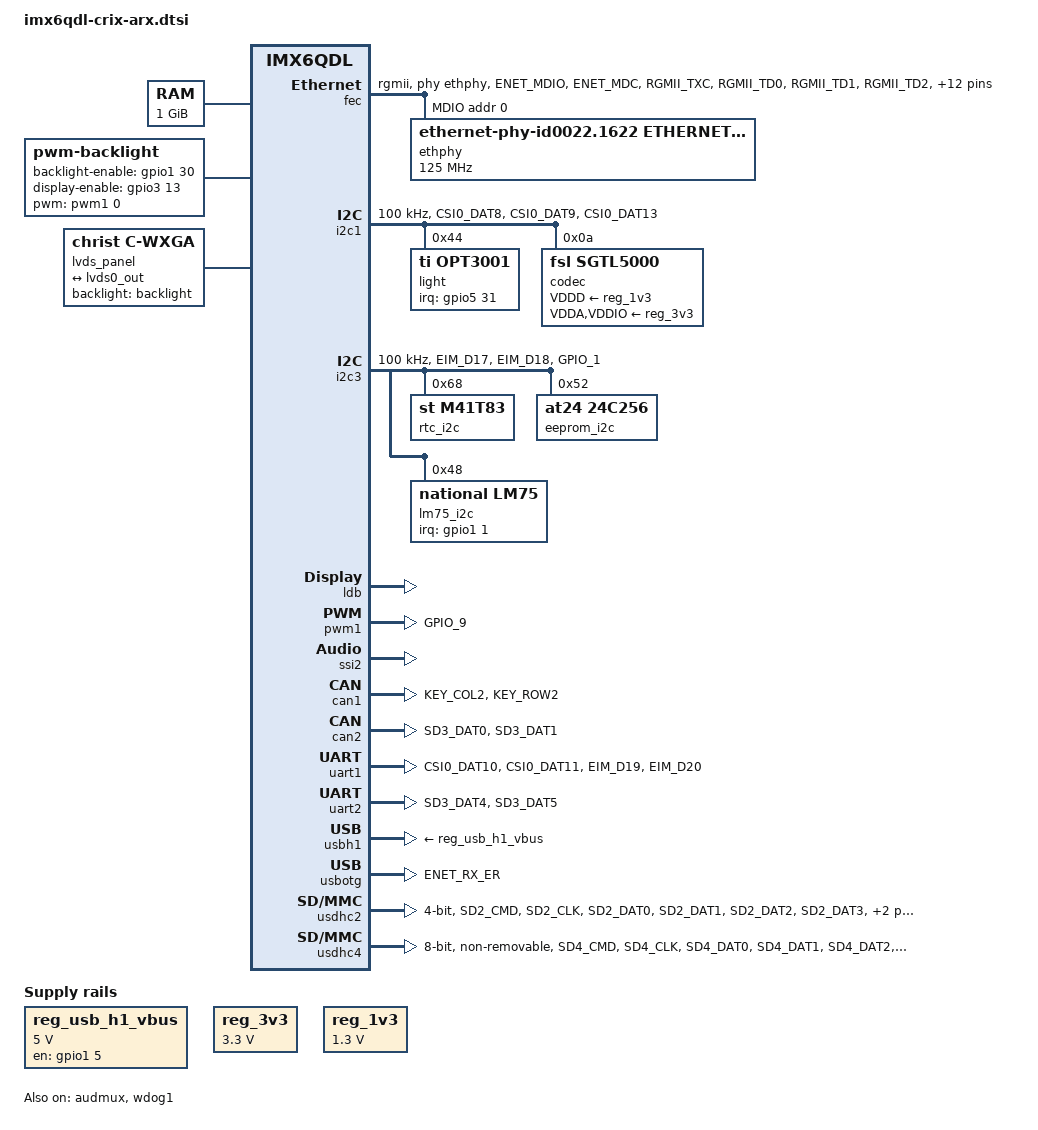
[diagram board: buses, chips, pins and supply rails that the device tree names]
// SPDX-License-Identifier: GPL-2.0+
/*
 * Copyright (C) 2019 Christ Electronic Systems GmbH
 * Peter Fink <pfink@christ-es.de>
 * Copyright 2012-2015 Freescale Semiconductor, Inc.
 * Copyright 2011 Linaro Ltd.
 *
 * The code contained herein is licensed under the GNU General Public
 * License. You may obtain a copy of the GNU General Public License
 * Version 2 or later at the following locations:
 *
 * http://www.opensource.org/licenses/gpl-license.html
 * http://www.gnu.org/copyleft/gpl.html
 */

#include <dt-bindings/clock/imx6qdl-clock.h>
#include <dt-bindings/gpio/gpio.h>
#include <dt-bindings/input/input.h>

/ {
	aliases {
		backlight_lvds = &backlight;
		fb_lvds = &lvds_panel;
		t_lvds = "/panel/panel-timing";
		ldb = &ldb;
	};

	chosen {
		stdout-path = &uart1;
	};

	memory@10000000 {
		reg = <0x10000000 0x40000000>;
	};

	regulators {
		compatible = "simple-bus";
		#address-cells = <1>;
		#size-cells = <0>;

		reg_usb_h1_vbus: regulator@1 {
			compatible = "regulator-fixed";
			reg = <0>;
			regulator-name = "usb_h1_vbus";
			regulator-min-microvolt = <5000000>;
			regulator-max-microvolt = <5000000>;
			pinctrl-names = "default";
			pinctrl-0 = <&pinctrl_usbhub_reset>; /* smsc2415 reset */
			gpio = <&gpio1 5 0>;
			enable-active-high;
			startup-delay-us = <2000>;
			status = "okay";
		};

		reg_3v3: regulator@2 {
			compatible = "regulator-fixed";
			regulator-name = "3P3V";
			regulator-min-microvolt = <3300000>;
			regulator-max-microvolt = <3300000>;
			regulator-always-on;
		};

		reg_1v3: regulator@3 {
			compatible = "regulator-fixed";
			regulator-name = "1P3V";
			regulator-min-microvolt = <1300000>;
			regulator-max-microvolt = <1300000>;
			regulator-always-on;
		};
	};

	backlight: backlight {
		compatible = "pwm-backlight";
		pwms = <&pwm1 0 1000000>;
		brightness-levels = <0 4 8 16 32 64 128 255>;
		default-brightness-level = <7>;
		pinctrl-0 = <&pinctrl_bkl>;
		backlight-enable-gpios = <&gpio1 30 0>;
		display-enable-gpios = <&gpio3 13 0>;
		pwm-on-delay-ms = <150>;
		pwm-off-delay-ms = <50>;
		status = "okay";
	};

	lvds_panel: panel {
		compatible = "christ,c-wxga", "panel-lvds";
		backlight = <&backlight>;

		width-mm = <261>;
		height-mm = <163>;

		data-mapping = "jeida-24";

		panel-timing {
			/* 1280x800 @58Hz */
			clock-frequency = <58339629>;
			hactive = <1280>;
			vactive = <800>;
			hsync-len = <40>;
			hfront-porch = <64>;
			hback-porch = <64>;
			vsync-len = <6>;
			vfront-porch = <5>;
			vback-porch = <5>;

		};

		port {
			panel_in: endpoint {
				remote-endpoint = <&lvds0_out>;
			};
		};
	};

	sound {
		compatible = "fsl,imx6qdl-crix-arx-sgtl5000",
			     "fsl,imx-audio-sgtl5000";
		model = "imx6q-crix-arx-sgtl5000";
		ssi-controller = <&ssi2>;
		audio-codec = <&codec>;
		audio-routing =
			"Ext Spk", "LINE_OUT";
		mux-int-port = <2>;
		mux-ext-port = <3>;
	};
};

&clks {
	assigned-clocks = <&clks IMX6QDL_CLK_LDB_DI0_SEL>,
			  <&clks IMX6QDL_CLK_LDB_DI1_SEL>;
	assigned-clock-parents = <&clks IMX6QDL_CLK_PLL5_VIDEO>,
				 <&clks IMX6QDL_CLK_PLL5_VIDEO>;
};

&fec {
	pinctrl-names = "default";
	pinctrl-0 = <&pinctrl_enet>;
	phy-mode = "rgmii";
	interrupts-extended = <&gpio1 6 IRQ_TYPE_LEVEL_HIGH>,
			      <&intc 0 119 IRQ_TYPE_LEVEL_HIGH>;
	fsl,err006687-workaround-present;
	phy-handle = <&ethphy>;
	phy-reset-gpios = <&gpio1 25 GPIO_ACTIVE_LOW>;
	phy-reset-duration = <1>;
	txen-skew-ps = <0>;
	txc-skew-ps = <1680>;
	rxdv-skew-ps = <0>;
	rxc-skew-ps = <1680>;
	rxd0-skew-ps = <0>;
	rxd1-skew-ps = <0>;
	rxd2-skew-ps = <0>;
	rxd3-skew-ps = <0>;
	txd0-skew-ps = <0>;
	txd1-skew-ps = <0>;
	txd2-skew-ps = <0>;
	txd3-skew-ps = <0>;
	status = "okay";

	mdio {
		#address-cells = <1>;
		#size-cells = <0>;

		ethphy: ethernet-phy@0 {
			compatible = "ethernet-phy-id0022.1622 , ethernet-phy-ieee802.3-c22";
			reg = <0>;
			max-speed = <1000>;
			clock-frequency = <125000000>;
		};
	};
};

&ecspi1 {
	status = "disabled";
};

&ecspi3 {
	status = "disabled";
};

&i2c1 {
	clock-frequency = <100000>;
	pinctrl-names = "default";
	pinctrl-0 = <&pinctrl_i2c1>;
	status = "okay";

	light: opt3001@44 {
		compatible = "ti,opt3001";
		reg = <0x44>;
		interrupt-parent = <&gpio5>;
		interrupts = <31 IRQ_TYPE_EDGE_FALLING>;
	};

	codec: sgtl5000@0a {
		compatible = "fsl,sgtl5000";
		reg = <0x0a>;
		clocks = <&clks 201>;
		VDDD-supply = <&reg_1v3>;
		VDDA-supply = <&reg_3v3>;
		VDDIO-supply = <&reg_3v3>;
	};

};

&i2c2 {
	status = "disabled";
};

&i2c3 {
	clock-frequency = <100000>;
	pinctrl-names = "default";
	pinctrl-0 = <&pinctrl_i2c3>;
	status = "okay";

        rtc_i2c: rtc@68 {
                compatible = "st,m41t83";
                reg = <0x68>;
        };

        eeprom_i2c: at24@52 {
                compatible = "at24,24c256";
                pagesize = <32>;
                reg = <0x52>;
        };

	lm75_i2c: lm75@48 {
		compatible = "national,lm75";
		interrupt-parent = <&gpio1>;
		interrupts = <1 GPIO_ACTIVE_LOW>;
		reg = <0x48>;
	};
};

&audmux {
	pinctrl-names = "default";
	pinctrl-0 = <&pinctrl_audmux>;
	status = "okay";
};

&iomuxc {
	pinctrl-names = "default";
	pinctrl-0 = <&pinctrl_gpios>;

	imx6qdl-crix {
		pinctrl_enet: enetgrp {
			fsl,pins = <
				MX6QDL_PAD_ENET_MDIO__ENET_MDIO		0x1b0b0
				MX6QDL_PAD_ENET_MDC__ENET_MDC		0x1b0b0
				MX6QDL_PAD_RGMII_TXC__RGMII_TXC		0x1b0b0
				MX6QDL_PAD_RGMII_TD0__RGMII_TD0		0x1b0b0
				MX6QDL_PAD_RGMII_TD1__RGMII_TD1		0x1b0b0
				MX6QDL_PAD_RGMII_TD2__RGMII_TD2		0x1b0b0
				MX6QDL_PAD_RGMII_TD3__RGMII_TD3		0x1b0b0
				MX6QDL_PAD_RGMII_TX_CTL__RGMII_TX_CTL	0x1b0b0
				MX6QDL_PAD_ENET_REF_CLK__ENET_TX_CLK	0x1b0b0
				MX6QDL_PAD_RGMII_RXC__RGMII_RXC		0x1b0b0
				MX6QDL_PAD_RGMII_RD0__RGMII_RD0		0x1b0b0
				MX6QDL_PAD_RGMII_RD1__RGMII_RD1		0x1b0b0
				MX6QDL_PAD_RGMII_RD2__RGMII_RD2		0x1b0b0
				MX6QDL_PAD_RGMII_RD3__RGMII_RD3		0x1b0b0
				MX6QDL_PAD_RGMII_RX_CTL__RGMII_RX_CTL	0x1b0b0
				MX6QDL_PAD_ENET_CRS_DV__GPIO1_IO25	0x1b0b0 /* reset pin */
				MX6QDL_PAD_GPIO_6__ENET_IRQ		0x000b1 /* workaround for err006687 */
			>;
		};

		pinctrl_bkl: gpio_bkl {
			fsl,pins = <
				MX6QDL_PAD_EIM_DA13__GPIO3_IO13		0x130b0 /* PD */
				MX6QDL_PAD_ENET_TXD0__GPIO1_IO30	0x130b0 /* PD */
			>;
		};

		pinctrl_audmux: audmuxgrp {
			fsl,pins = <
				MX6QDL_PAD_CSI0_DAT4__AUD3_TXC			0x130b0
				MX6QDL_PAD_CSI0_DAT5__AUD3_TXD			0x110b0
				MX6QDL_PAD_CSI0_DAT6__AUD3_TXFS			0x130b0
				MX6QDL_PAD_CSI0_DAT7__AUD3_RXD			0x130b0
				/* SGTL5000 sys_mclk */
				MX6QDL_PAD_GPIO_0__CCM_CLKO1			0x03088
			>;
		};

		pinctrl_status_led: gpio_status_led {
			fsl,pins = <
				MX6QDL_PAD_DISP0_DAT9__GPIO4_IO30	0x130b0 /* PD */
			>;
		};

		pinctrl_gpios: gpios1 {
			fsl,pins = <
				MX6QDL_PAD_EIM_DA8__GPIO3_IO08		0x130b0 /* PD */
				MX6QDL_PAD_CSI0_DAT12__GPIO5_IO30	0x130b0 /* SD_AUDIO_AMP */
			>;
		};

		pinctrl_i2c1: i2c1grp {
			fsl,pins = <
				MX6QDL_PAD_CSI0_DAT8__I2C1_SDA		0x4001b8b1
				MX6QDL_PAD_CSI0_DAT9__I2C1_SCL		0x4001b8b1
				MX6QDL_PAD_CSI0_DAT13__GPIO5_IO31       0x130b0 /* OPT3001 INT */
			>;
		};

		pinctrl_i2c2: i2c2grp {
			fsl,pins = <
				MX6QDL_PAD_KEY_COL3__I2C2_SCL		0x4001b8b1
				MX6QDL_PAD_KEY_ROW3__I2C2_SDA		0x4001b8b1
				MX6QDL_PAD_EIM_D26__GPIO3_IO26		0x130b0 /* AR1021 INT */
			>;
		};

		pinctrl_i2c3: i2c3grp {
			fsl,pins = <
				MX6QDL_PAD_EIM_D17__I2C3_SCL		0x4001b8b1
				MX6QDL_PAD_EIM_D18__I2C3_SDA		0x4001b8b1
				MX6QDL_PAD_GPIO_1__GPIO1_IO01		0x130b0 /* LM75 INT */
			>;
		};

		pinctrl_pwm1: pwm1grp {
			fsl,pins = <
				MX6QDL_PAD_GPIO_9__PWM1_OUT		0x1b0b1
			>;
		};

		pinctrl_uart1: uart1grp {
			fsl,pins = <
				MX6QDL_PAD_CSI0_DAT10__UART1_TX_DATA	0x1b0b1
				MX6QDL_PAD_CSI0_DAT11__UART1_RX_DATA	0x1b0b1
				MX6QDL_PAD_EIM_D19__UART1_CTS_B		0x1b0b1
				MX6QDL_PAD_EIM_D20__UART1_RTS_B		0x1b0b1
			>;
		};

		pinctrl_uart2: uart2grp {
			fsl,pins = <
				MX6QDL_PAD_SD3_DAT4__UART2_RX_DATA	0x1b0b1
				MX6QDL_PAD_SD3_DAT5__UART2_TX_DATA	0x1b0b1
			>;
		};

		pinctrl_usbotg: usbotggrp {
			fsl,pins = <
				MX6QDL_PAD_ENET_RX_ER__USB_OTG_ID	0x17059
			>;
		};

		pinctrl_usbhub_reset: usbhub_reset {
			fsl,pins = <
				MX6QDL_PAD_GPIO_5__GPIO1_IO05		0x130b0 /* PD */
			>;
		};

		pinctrl_usdhc2: usdhc2grp {
			fsl,pins = <
				MX6QDL_PAD_SD2_CMD__SD2_CMD		0x17059
				MX6QDL_PAD_SD2_CLK__SD2_CLK		0x10059
				MX6QDL_PAD_SD2_DAT0__SD2_DATA0		0x17059
				MX6QDL_PAD_SD2_DAT1__SD2_DATA1		0x17059
				MX6QDL_PAD_SD2_DAT2__SD2_DATA2		0x17059
				MX6QDL_PAD_SD2_DAT3__SD2_DATA3		0x17059
				MX6QDL_PAD_NANDF_D2__GPIO2_IO02		0x1b0b0 /* card detect */
			>;
		};

		pinctrl_usdhc4: usdhc4grp {
			fsl,pins = <
				MX6QDL_PAD_SD4_CMD__SD4_CMD		0x17059
				MX6QDL_PAD_SD4_CLK__SD4_CLK		0x10059
				MX6QDL_PAD_SD4_DAT0__SD4_DATA0		0x17059
				MX6QDL_PAD_SD4_DAT1__SD4_DATA1		0x17059
				MX6QDL_PAD_SD4_DAT2__SD4_DATA2		0x17059
				MX6QDL_PAD_SD4_DAT3__SD4_DATA3		0x17059
				MX6QDL_PAD_SD4_DAT4__SD4_DATA4		0x17059
				MX6QDL_PAD_SD4_DAT5__SD4_DATA5		0x17059
				MX6QDL_PAD_SD4_DAT6__SD4_DATA6		0x17059
				MX6QDL_PAD_SD4_DAT7__SD4_DATA7		0x17059
			>;
		};

		pinctrl_flexcan1: can1grp {
			fsl,pins = <
				MX6QDL_PAD_KEY_COL2__FLEXCAN1_TX	0x1b0b0
				MX6QDL_PAD_KEY_ROW2__FLEXCAN1_RX	0x1b0b0
			>;
		};

		pinctrl_flexcan2: can2grp {
			fsl,pins = <
				MX6QDL_PAD_SD3_DAT0__FLEXCAN2_TX	0x1b0b0
				MX6QDL_PAD_SD3_DAT1__FLEXCAN2_RX	0x1b0b0
			>;
		};
	};
};

&ldb {
	status = "okay";

	lvds-channel@0 {
		fsl,data-mapping = "spwg";
		fsl,data-width = <18>;
		status = "okay";

		port@4 {
			reg = <4>;

			lvds0_out: endpoint {
				remote-endpoint = <&panel_in>;
			};
		};
	};
};

&pwm1 {
	pinctrl-names = "default";
	pinctrl-0 = <&pinctrl_pwm1>;
	status = "okay";
};

&snvs_poweroff {
	status = "okay";
};

&ssi2 {
	fsl,mode = "i2s-slave";
	status = "okay";
};

&can1 {
	pinctrl-names = "default";
	pinctrl-0 = <&pinctrl_flexcan1>;
	status = "okay";
};

&can2 {
	pinctrl-names = "default";
	pinctrl-0 = <&pinctrl_flexcan2>;
	status = "okay";
};

&uart1 {
	pinctrl-names = "default";
	pinctrl-0 = <&pinctrl_uart1>;
	status = "okay";
};

&uart2 {
	pinctrl-names = "default";
	pinctrl-0 = <&pinctrl_uart2>;
	status = "okay";
};

&uart3 {
	pinctrl-names = "default";
	status = "disabled";
};

&usbh1 {
	vbus-supply = <&reg_usb_h1_vbus>;
	status = "okay";
};

&usbotg {
	pinctrl-names = "default";
	pinctrl-0 = <&pinctrl_usbotg>;
	disable-over-current;
	srp-disable;
	hnp-disable;
	adp-disable;
	status = "okay";
};

&usdhc2 {
	pinctrl-names = "default";
	pinctrl-0 = <&pinctrl_usdhc2>;
	bus-width = <4>;
	cd-gpios = <&gpio2 2 GPIO_ACTIVE_LOW>;
	no-1-8-v;
	status = "okay";
};

&usdhc4 {
	pinctrl-names = "default";
	pinctrl-0 = <&pinctrl_usdhc4>;
	bus-width = <8>;
	non-removable;
	no-1-8-v;
	keep-power-in-suspend;
	status = "okay";
};

&wdog1 {
	status = "okay";
};

&wdog2 {
	status = "disabled";
};
